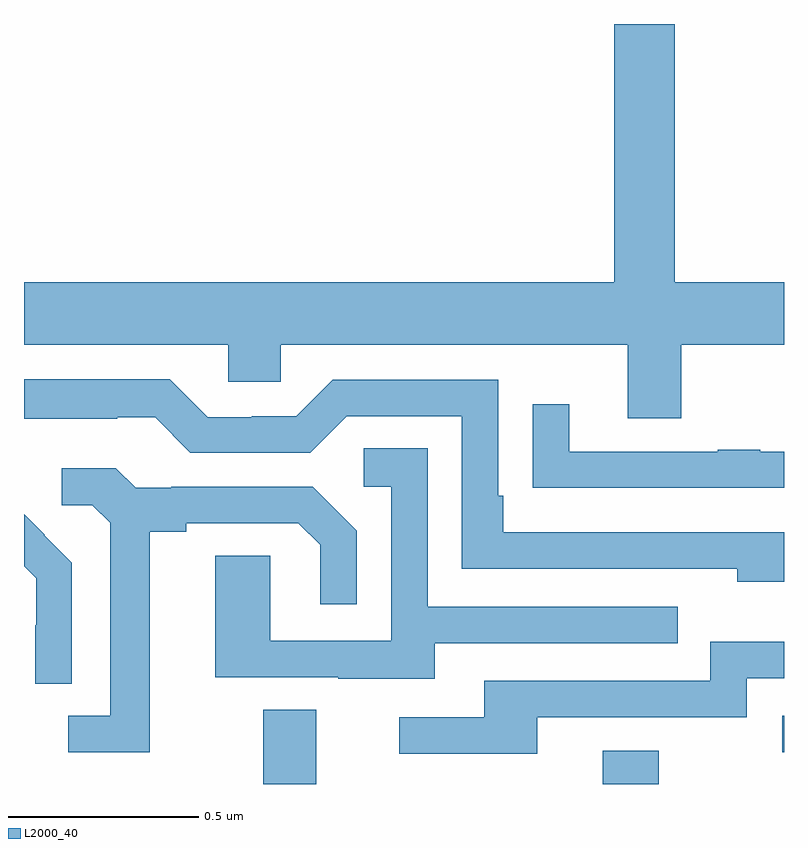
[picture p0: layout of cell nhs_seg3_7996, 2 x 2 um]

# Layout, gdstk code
import gdstk
lib = gdstk.Library(unit=1e-6, precision=1e-09)
def R(c, l, rs):  # rectangles x0, y0, x1, y1
    for r in rs: c.add(gdstk.rectangle(r[:2], r[2:], *l))
def P(c, l, *ps):  # polygons
    for p in ps: c.add(gdstk.Polygon(p, *l))
L2000_40 = (2000, 40)

nhs_seg3_7996 = lib.new_cell('nhs_seg3_7996')
R(nhs_seg3_7996, L2000_40, [(210.629,726.4,210.769,726.596), (211.523,726.4,211.671,726.487), (211.995,726.483,212,726.579)])
P(nhs_seg3_7996, L2000_40, [(211.729,727.556),(212,727.556),(212,727.72),(211.713,727.72),(211.713,728.4),(211.553,728.4),(211.553,727.72),(210,727.72),(210,727.556),(210.537,727.556),(210.537,727.458),(210.675,727.458),(210.675,727.556),(211.589,727.556),(211.589,727.362),(211.729,727.362)],
  [(212,727.062),(211.261,727.062),(211.261,727.159),(211.248,727.159),(211.248,727.464),(210.813,727.464),(210.717,727.368),(210.599,727.368),(210.599,727.365),(210.483,727.365),(210.383,727.465),(210,727.465),(210,727.361),(210.245,727.361),(210.245,727.365),(210.345,727.365),(210.438,727.272),(210.753,727.272),(210.849,727.368),(211.152,727.368),(211.152,726.966),(211.877,726.966),(211.877,726.932),(212,726.932)],
  [(212,727.275),(211.937,727.275),(211.937,727.28),(211.825,727.28),(211.825,727.275),(211.435,727.275),(211.435,727.399),(211.339,727.399),(211.339,727.18),(211.441,727.18),(211.441,727.179),(212,727.179)],
  [(211.081,726.771),(211.721,726.771),(211.721,726.867),(211.062,726.867),(211.062,727.283),(210.894,727.283),(210.894,727.182),(210.966,727.182),(210.966,726.777),(210.648,726.777),(210.648,727.001),(210.503,727.001),(210.503,726.681),(210.827,726.681),(210.827,726.677),(211.081,726.677)],
  [(210.331,727.064),(210.427,727.064),(210.427,727.086),(210.722,727.086),(210.779,727.029),(210.779,726.873),(210.876,726.873),(210.876,727.066),(210.76,727.182),(210.388,727.182),(210.388,727.179),(210.294,727.179),(210.242,727.231),(210.099,727.231),(210.099,727.134),(210.18,727.134),(210.227,727.087),(210.227,726.579),(210.117,726.579),(210.117,726.483),(210.331,726.483)],
  [(210.126,726.982),(210.053,727.055),(210.054,727.056),(210,727.11),(210,726.973),(210.032,726.941),(210.032,726.818),(210.03,726.818),(210.03,726.664),(210.126,726.664)],
  [(211.351,726.576),(211.902,726.576),(211.902,726.678),(212,726.678),(212,726.775),(211.806,726.775),(211.806,726.672),(211.211,726.672),(211.211,726.576),(210.987,726.576),(210.987,726.48),(211.351,726.48)])

lib.write_gds('nhs_seg3_7996.gds')
